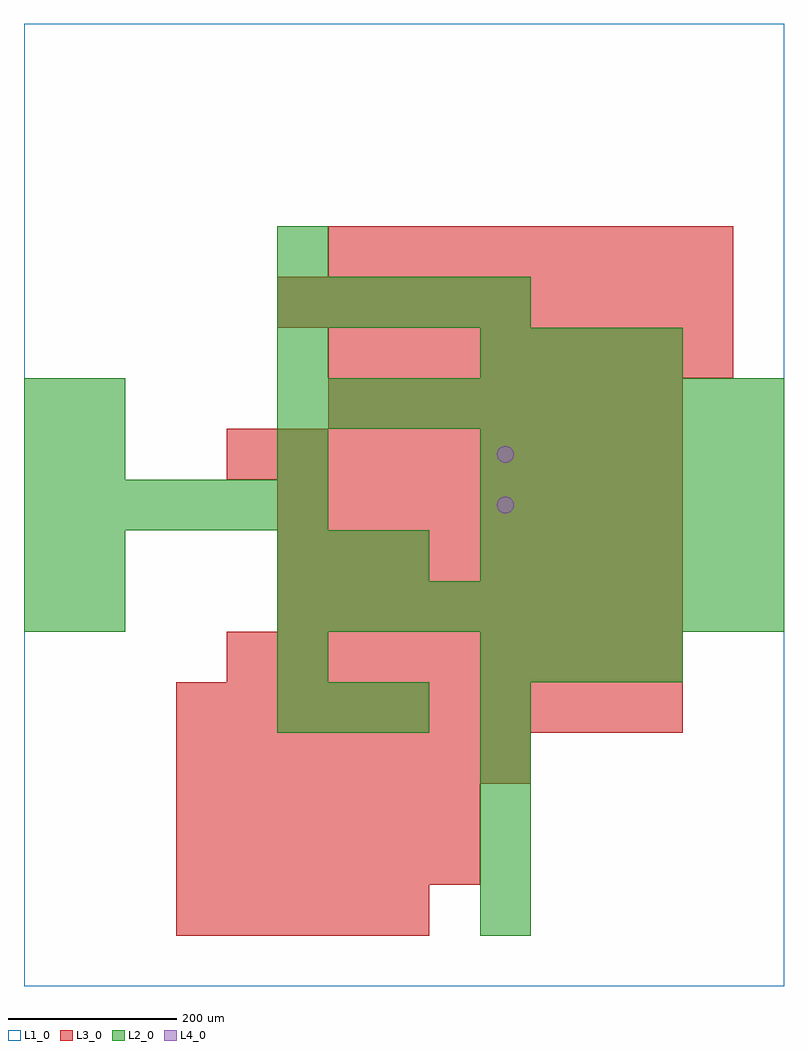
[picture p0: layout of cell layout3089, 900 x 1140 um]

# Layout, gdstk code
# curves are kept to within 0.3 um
import gdstk
lib = gdstk.Library(unit=1e-6, precision=1e-09)
def R(c, l, rs):  # rectangles x0, y0, x1, y1
    for r in rs: c.add(gdstk.rectangle(r[:2], r[2:], *l))
def A(c, l, x, y, w, h, nx, ny, dx, dy):  # array of equal rectangles
    R(c, l, [(x+i*dx, y+j*dy, x+i*dx+w, y+j*dy+h) for i in range(nx) for j in range(ny)])
def P(c, l, *ps):  # polygons
    for p in ps: c.add(gdstk.Polygon(p, *l))
L1_0 = (1, 0)
L2_0 = (2, 0)
L3_0 = (3, 0)
L4_0 = (4, 0)

layout3089 = lib.new_cell('layout3089')
R(layout3089, L1_0, [(0,0,900,1140)])
A(layout3089, L2_0, 540, 60, 60, 60, 1, 5, 0, 60)
A(layout3089, L2_0, 300, 300, 60, 60, 3, 2, 60, 180)
A(layout3089, L2_0, 540, 360, 60, 60, 4, 2, 60, 360)
A(layout3089, L2_0, 300, 420, 60, 60, 10, 2, 60, 240)
A(layout3089, L2_0, 540, 480, 60, 60, 6, 2, 60, 60)
A(layout3089, L2_0, 0, 540, 60, 60, 6, 1, 60, 0)
A(layout3089, L2_0, 60, 600, 60, 60, 3, 1, 240, 0)
A(layout3089, L2_0, 600, 600, 60, 60, 5, 1, 60, 0)
A(layout3089, L2_0, 300, 780, 60, 60, 5, 1, 60, 0)
R(layout3089, L2_0, [(300,360,360,420), (0,420,60,480), (60,420,120,480), (0,480,60,540), (60,480,120,540), (0,600,60,660), (0,660,60,720), (60,660,120,720), (300,720,360,780), (300,840,360,900)])
A(layout3089, L3_0, 180, 60, 60, 60, 5, 1, 60, 0)
A(layout3089, L3_0, 180, 120, 60, 60, 6, 2, 60, 60)
A(layout3089, L3_0, 180, 240, 60, 60, 7, 1, 60, 0)
A(layout3089, L3_0, 180, 300, 60, 60, 10, 1, 60, 0)
A(layout3089, L3_0, 240, 360, 60, 60, 9, 2, 60, 240)
A(layout3089, L3_0, 300, 420, 60, 60, 8, 3, 60, 60)
A(layout3089, L3_0, 360, 660, 60, 60, 7, 1, 60, 0)
A(layout3089, L3_0, 360, 720, 60, 60, 8, 2, 60, 120)
A(layout3089, L3_0, 300, 780, 60, 60, 9, 1, 60, 0)
P(layout3089, L4_0, [(580,570),(579.239,573.827),(577.071,577.071),(573.827,579.239),(570,580),(566.173,579.239),(562.929,577.071),(560.761,573.827),(560,570),(560.761,566.173),(562.929,562.929),(566.173,560.761),(570,560),(573.827,560.761),(577.071,562.929),(579.239,566.173)],
  [(580,630),(579.239,633.827),(577.071,637.071),(573.827,639.239),(570,640),(566.173,639.239),(562.929,637.071),(560.761,633.827),(560,630),(560.761,626.173),(562.929,622.929),(566.173,620.761),(570,620),(573.827,620.761),(577.071,622.929),(579.239,626.173)])

lib.write_gds('layout3089.gds')
